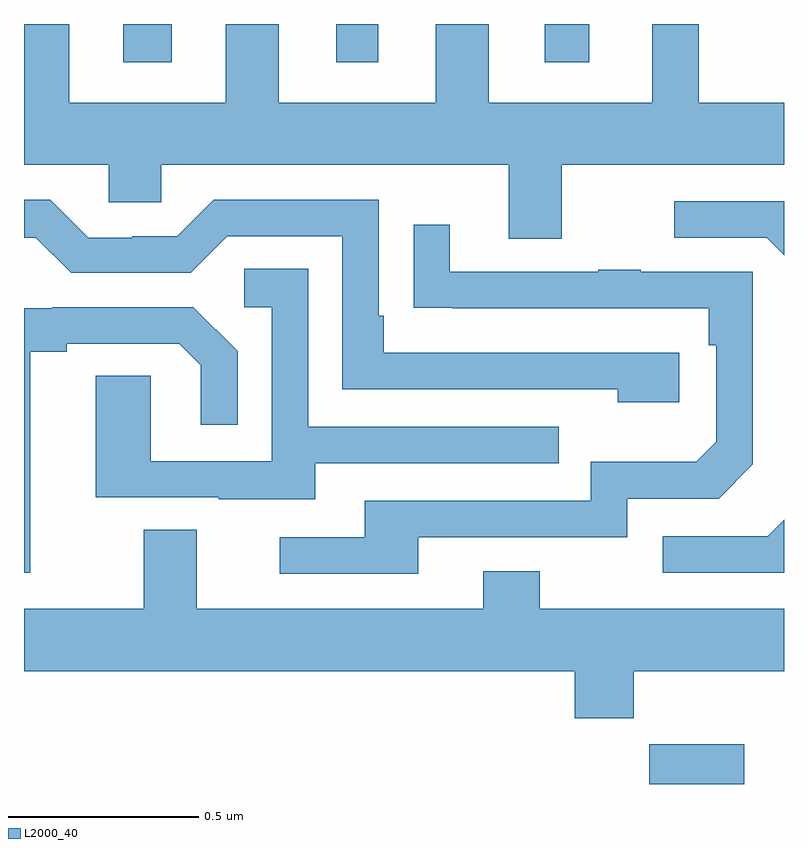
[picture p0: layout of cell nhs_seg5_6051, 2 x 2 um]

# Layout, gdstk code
import gdstk
lib = gdstk.Library(unit=1e-6, precision=1e-09)
def R(c, l, rs):  # rectangles x0, y0, x1, y1
    for r in rs: c.add(gdstk.rectangle(r[:2], r[2:], *l))
def P(c, l, *ps):  # polygons
    for p in ps: c.add(gdstk.Polygon(p, *l))
L2000_40 = (2000, 40)

nhs_seg5_6051 = lib.new_cell('nhs_seg5_6051')
R(nhs_seg5_6051, L2000_40, [(192.646,853.799,192.895,853.903), (191.261,855.699,191.389,855.799), (191.822,855.699,191.932,855.799), (192.371,855.699,192.487,855.799)])
P(nhs_seg5_6051, L2000_40, [(192.415,855.428),(193,855.428),(193,855.592),(192.775,855.592),(192.775,855.799),(192.653,855.799),(192.653,855.592),(192.223,855.592),(192.223,855.799),(192.083,855.799),(192.083,855.592),(191.671,855.592),(191.671,855.799),(191.531,855.799),(191.531,855.592),(191.119,855.592),(191.119,855.799),(191,855.799),(191,855.428),(191.223,855.428),(191.223,855.33),(191.361,855.33),(191.361,855.428),(192.275,855.428),(192.275,855.234),(192.415,855.234)],
  [(192.724,854.934),(191.947,854.934),(191.947,855.031),(191.934,855.031),(191.934,855.336),(191.499,855.336),(191.403,855.24),(191.285,855.24),(191.285,855.237),(191.169,855.237),(191.069,855.337),(191,855.337),(191,855.237),(191.031,855.237),(191.124,855.144),(191.439,855.144),(191.535,855.24),(191.838,855.24),(191.838,854.838),(192.563,854.838),(192.563,854.804),(192.724,854.804)],
  [(193,855.333),(192.711,855.333),(192.711,855.237),(192.954,855.237),(193,855.191)],
  [(192.037,854.448),(192.588,854.448),(192.588,854.55),(192.828,854.55),(192.918,854.64),(192.918,855.147),(192.623,855.147),(192.623,855.152),(192.511,855.152),(192.511,855.147),(192.121,855.147),(192.121,855.271),(192.025,855.271),(192.025,855.052),(192.127,855.052),(192.127,855.051),(192.802,855.051),(192.802,854.954),(192.822,854.954),(192.822,854.7),(192.769,854.647),(192.492,854.647),(192.492,854.544),(191.897,854.544),(191.897,854.448),(191.673,854.448),(191.673,854.352),(192.037,854.352)],
  [(191.767,854.643),(192.407,854.643),(192.407,854.739),(191.748,854.739),(191.748,855.155),(191.58,855.155),(191.58,855.054),(191.652,855.054),(191.652,854.649),(191.334,854.649),(191.334,854.873),(191.189,854.873),(191.189,854.553),(191.513,854.553),(191.513,854.549),(191.767,854.549)],
  [(191.017,854.936),(191.113,854.936),(191.113,854.958),(191.408,854.958),(191.465,854.901),(191.465,854.745),(191.562,854.745),(191.562,854.938),(191.446,855.054),(191.074,855.054),(191.074,855.051),(191,855.051),(191,854.355),(191.017,854.355)],
  [(193,854.494),(192.957,854.451),(192.681,854.451),(192.681,854.355),(193,854.355)],
  [(192.605,854.096),(193,854.096),(193,854.26),(192.357,854.26),(192.357,854.359),(192.209,854.359),(192.209,854.26),(191.455,854.26),(191.455,854.468),(191.315,854.468),(191.315,854.26),(191,854.26),(191,854.096),(192.449,854.096),(192.449,853.972),(192.605,853.972)])

lib.write_gds('nhs_seg5_6051.gds')
